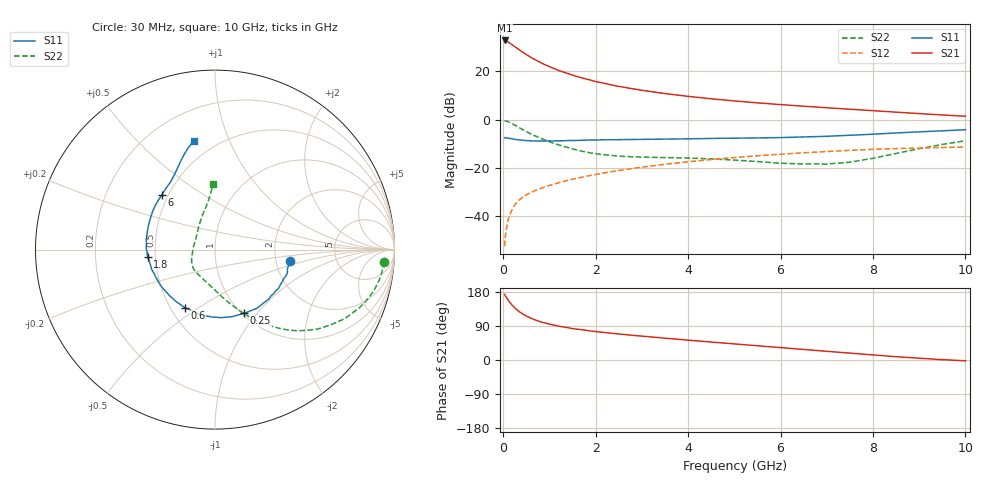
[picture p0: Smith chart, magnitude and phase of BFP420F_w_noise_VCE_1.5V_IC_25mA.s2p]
! Infineon Technologies  Discrete & RF Semiconductors
! BFP420F
! VCE =  1.5 V,  IC =  25 mA
! Common Emitter S-Parameters:  Sep 2011
# GHz  S  MA  R  50
!  f  S11  S21  S12  S22
! GHz  MAG  ANG  MAG  ANG  MAG  ANG  MAG  ANG
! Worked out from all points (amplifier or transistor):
!   54 points, 30 MHz to 10 GHz, reference 50 ohm
!   highest |S21| = 32.8 dB at 30 MHz (marker M1)
!   |S21| within 3 dB of that: start of sweep to 284.2 MHz
!   unconditionally stable (mu >= 1): 1.502 GHz to end of sweep
!   at 120 MHz: K = 0.30, MSG = 36.4 dB, |S12| = -40.7 dB
!   at 1.3 GHz: K = 0.95, MSG = 22.7 dB, |S12| = -25.6 dB
!   at 10 GHz: K = 1.22, MAG = 3.5 dB, |S12| = -11.3 dB
!   lowest NFmin = 1.66 dB at 450 MHz
!   S11 on the Smith chart (normalised r, x): 30 MHz: 2.40, -0.38; 250 MHz: 1.02, -0.86; 600 MHz: 0.59, -0.44; 1.8 GHz: 0.45, -0.05; 6 GHz: 0.46, +0.34; 10 GHz: 0.38, +0.75
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0.03  0.4236 -8.9  43.57 173.2  0.0024 89.9  0.9417 -4.1
0.07  0.4205 -20.9  42.31 165.1  0.0055 82.8  0.9296 -10.7
0.12  0.4086 -34.5  39.78 155.6  0.0092 80.0  0.8931 -18.0
0.15  0.4072 -42.2  37.94 150.9  0.0111 76.9  0.8666 -22.0
0.2  0.4019 -54.6  35.18 143.9  0.0143 74.2  0.8195 -28.0
0.25  0.3903 -65.4  32.43 137.6  0.017 71.0  0.7695 -33.0
0.3  0.3856 -75.7  30.14 132.2  0.0197 69.0  0.7246 -37.6
0.4  0.3761 -92.5  25.75 123.2  0.024 65.9  0.639 -45.0
0.5  0.3674 -106.0  22.28 116.1  0.0278 63.9  0.5661 -50.8
0.6  0.364 -117.5  19.43 110.3  0.0311 62.9  0.505 -55.7
0.8  0.3605 -134.2  15.34 101.1  0.0374 62.0  0.4143 -63.5
1  0.3633 -145.9  12.5 94.7  0.0435 61.8  0.3485 -70.1
1.3  0.365 -159.1  9.65 87.2  0.0523 61.5  0.2808 -78.9
1.7  0.3731 -171.1  7.322 79.8  0.0642 61.2  0.2222 -90.7
1.8  0.3768 -173.4  6.93 78.3  0.0673 61.1  0.2129 -93.8
2.4  0.383 174.9  5.085 69.8  0.0854 59.2  0.1793 -110.6
3.5  0.3952 159.5  3.464 57.6  0.1189 54.6  0.1636 -131.7
5.5  0.4182 139.4  2.226 37.6  0.1785 42.5  0.1355 -163.2
6  0.425 134.1  2.049 32.7  0.1925 39.1  0.1247 -175.0
7  0.4521 122.9  1.761 22.9  0.2185 32.2  0.1205 155.1
8.5  0.5295 111.1  1.428 8.7  0.2515 21.0  0.1995 111.2
10  0.6179 101.0  1.176 -2.2  0.2716 11.8  0.3655 91.6
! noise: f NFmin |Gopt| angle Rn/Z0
0.45  1.66  0.23  -177  0.1
0.9  1.68  0.25  -175  0.13
1.9  1.81  0.32  -166  0.14
2.4  1.87  0.32  -160  0.12
3.5  2.1  0.32  -151  0.17
